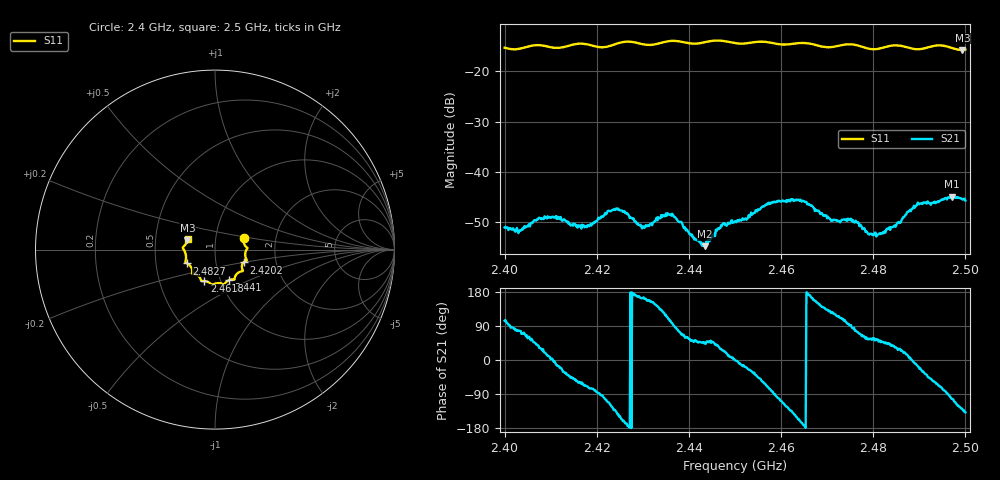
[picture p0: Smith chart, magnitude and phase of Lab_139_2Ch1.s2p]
# Hz S RI R 50
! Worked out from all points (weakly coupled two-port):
!   601 points, 2.4 GHz to 2.5 GHz, reference 50 ohm
!   highest |S21| = -44.88 dB at 2.497 GHz (marker M1); lowest = -54.7 dB at 2.4435 GHz (marker M2)
!   lowest |S11| = -15.8 dB at 2.4993 GHz (marker M3), VSWR 1.39, Z = 36.5 + j3.82 ohm
!   |S11| at or under -10 dB: start of sweep to end of sweep
!   S12 and S22 are empty: the file has one direction only
!   S11 on the Smith chart (normalised r, x): 2.4 GHz: 1.36, +0.18; 2.4202 GHz: 1.36, -0.20; 2.441 GHz: 1.10, -0.39; 2.4618 GHz: 0.84, -0.30; 2.4827 GHz: 0.72, -0.11; 2.5 GHz: 0.73, +0.09
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2.4e9  0.1588 0.0629  -0.000663 0.00274  0 0  0 0
2.403333e9  0.1653 0.0255  0.000607 0.00257  0 0  0 0
2.410667e9  0.1702 -0.013  0.00353 -0.000293  0 0  0 0
2.416667e9  0.1772 -0.0608  0.00124 -0.00246  0 0  0 0
2.420167e9  0.159 -0.0715  0.000258 -0.00333  0 0  0 0
2.424167e9  0.1518 -0.1081  -0.00312 -0.00302  0 0  0 0
2.43e9  0.1367 -0.1246  -0.00277 0.000825  0 0  0 0
2.433333e9  0.1117 -0.1508  -0.00273 0.0023  0 0  0 0
2.4365e9  0.1086 -0.1677  -0.000252 0.00378  0 0  0 0
2.441e9  0.0788 -0.1698  0.00153 0.00168  0 0  0 0
2.4435e9  0.0578 -0.1848  0.00128 0.00132  0 0  0 0
2.447167e9  0.047 -0.1945  0.00262 0.0013  0 0  0 0
2.45e9  0.0287 -0.1875  0.00326 -6.02e-05  0 0  0 0
2.461833e9  -0.059 -0.1754  -0.00341 -0.00396  0 0  0 0
2.466667e9  -0.0789 -0.1684  -0.00446 0.00133  0 0  0 0
2.479333e9  -0.1312 -0.1017  0.00136 0.00203  0 0  0 0
2.482667e9  -0.1557 -0.0771  0.00174 0.00182  0 0  0 0
2.483333e9  -0.1601 -0.075  0.00199 0.00194  0 0  0 0
2.489833e9  -0.163 -0.0265  0.00461 -0.0015  0 0  0 0
2.497e9  -0.1685 0.0237  -0.00123 -0.00557  0 0  0 0
2.499333e9  -0.154 0.0509  -0.00341 -0.00413  0 0  0 0
2.5e9  -0.1522 0.0604  -0.00389 -0.00346  0 0  0 0
